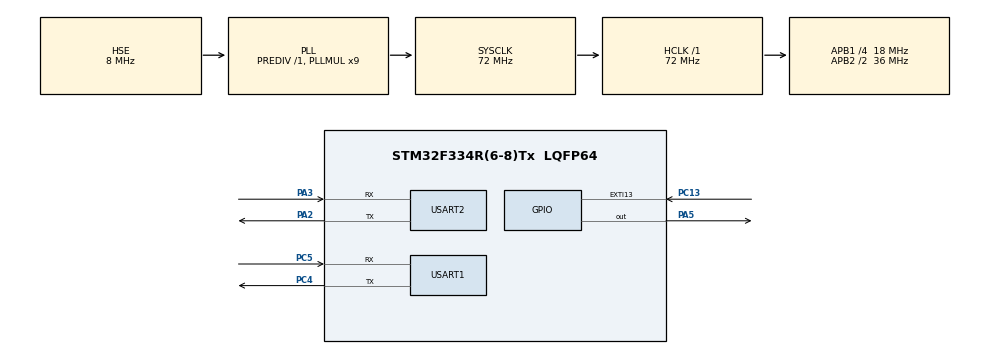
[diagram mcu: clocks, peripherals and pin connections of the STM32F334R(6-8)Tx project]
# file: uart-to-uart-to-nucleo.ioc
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Mcu.Family=STM32F3
Mcu.Name=STM32F334R(6-8)Tx
Mcu.Package=LQFP64
NVIC.EXTI15_10_IRQn=true\:0\:0\:false\:false\:true\:true\:true\:true
NVIC.PriorityGroup=NVIC_PRIORITYGROUP_4
NVIC.USART1_IRQn=true\:0\:0\:false\:false\:true\:true\:true\:true
NVIC.USART2_IRQn=true\:0\:0\:false\:false\:true\:true\:true\:true
PA2.Mode=Asynchronous
PA2.Signal=USART2_TX
PA3.Mode=Asynchronous
PA3.Signal=USART2_RX
PA5.Signal=GPIO_Output
PC13.GPIO_ModeDefaultEXTI=GPIO_MODE_IT_RISING_FALLING
PC13.GPIO_PuPd=GPIO_NOPULL
PC13.Signal=GPXTI13
PC4.Mode=Asynchronous
PC4.Signal=USART1_TX
PC5.Mode=Asynchronous
PC5.Signal=USART1_RX
PF0\ /\ OSC_IN.Mode=HSE-External-Oscillator
PF0\ /\ OSC_IN.Signal=RCC_OSC_IN
PF1\ /\ OSC_OUT.Mode=HSE-External-Oscillator
PF1\ /\ OSC_OUT.Signal=RCC_OSC_OUT
ProjectManager.HeapSize=0x200
ProjectManager.StackSize=0x400
ProjectManager.TargetToolchain=STM32CubeIDE
RCC.AHBFreq_Value=72000000
RCC.APB1CLKDivider=RCC_HCLK_DIV4
RCC.APB1Freq_Value=18000000
RCC.APB1TimFreq_Value=36000000
RCC.APB2CLKDivider=RCC_HCLK_DIV2
RCC.APB2Freq_Value=36000000
RCC.APB2TimFreq_Value=72000000
RCC.CortexFreq_Value=72000000
RCC.HCLKFreq_Value=72000000
RCC.HSE_VALUE=8000000
RCC.HSI_VALUE=8000000
RCC.LSE_VALUE=32768
RCC.PLLMUL=RCC_PLL_MUL9
RCC.PLLSourceVirtual=RCC_PLLSOURCE_HSE
RCC.SYSCLKFreq_VALUE=72000000
RCC.SYSCLKSourceVirtual=RCC_SYSCLKSOURCE_PLLCLK
USART1.VirtualMode-Asynchronous=VM_ASYNC
USART2.VirtualMode-Asynchronous=VM_ASYNC
board=custom

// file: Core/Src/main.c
/* USER CODE BEGIN Header */
/**
  ******************************************************************************
  * @file           : main.c
  * @brief          : Main program body
  ******************************************************************************
  * @attention
  *
  * Copyright (c) 2023 STMicroelectronics.
  * All rights reserved.
  *
  * This software is licensed under terms that can be found in the LICENSE file
  * in the root directory of this software component.
  * If no LICENSE file comes with this software, it is provided AS-IS.
  *
  ******************************************************************************
  */
/* USER CODE END Header */
#include "main.h"

/* USER CODE BEGIN Includes */
#include <stdbool.h>
#include <stdio.h>
#include <string.h>
/* USER CODE END Includes */

/* USER CODE BEGIN PD */
#define BUFFER_SIZE 4
#define TIMEOUT 0xFFFF
/* USER CODE END PD */

UART_HandleTypeDef huart1;
UART_HandleTypeDef huart2;

/* USER CODE BEGIN PV */
int i;
char log[50];

uint8_t transmitBuffer[BUFFER_SIZE];
uint8_t receiveBuffer[BUFFER_SIZE];
bool isReceived = false;
bool isTransive = false;
/* USER CODE END PV */

void SystemClock_Config(void);
static void MX_GPIO_Init(void);
static void MX_USART1_UART_Init(void);
static void MX_USART2_UART_Init(void);

int main(void)
{

  /* MCU Configuration--------------------------------------------------------*/

  /* Reset of all peripherals, Initializes the Flash interface and the Systick. */
  HAL_Init();

  /* Configure the system clock */
  SystemClock_Config();

  /* Initialize all configured peripherals */
  MX_GPIO_Init();
  MX_USART1_UART_Init();
  MX_USART2_UART_Init();
  /* USER CODE BEGIN 2 */
  for (unsigned char i = 0; i < BUFFER_SIZE; i++) {
  	  transmitBuffer[i] = i + 1;
  	  receiveBuffer[i] = 0;
  }
  HAL_UART_Receive_IT(&huart1, receiveBuffer, BUFFER_SIZE);
  HAL_UART_Transmit_IT(&huart2, transmitBuffer, BUFFER_SIZE);
  /* USER CODE END 2 */

  /* Infinite loop */
  while (1)
  {

    /* USER CODE BEGIN 3 */

	  // Ичпользуем это, вместо GPIO EXTI, надо снять GPIO в ioc!
	  if (HAL_GPIO_ReadPin(GPIOC, GPIO_PIN_13) == GPIO_PIN_RESET) {
		  HAL_GPIO_WritePin(GPIOA, GPIO_PIN_5, GPIO_PIN_RESET);
	  } else HAL_GPIO_WritePin(GPIOA, GPIO_PIN_5, GPIO_PIN_SET);
//	  sprintf(log, "USART1.State: %s", huart1.RxState);
//	  sprintf(log, "USART1.Count : %s", huart1.RxXferCount);

//	  sprintf(log, "USART2.State : %s", huart2.RxState);
//	  sprintf(log, "USART2.Count : %s", huart2.RxXferCount);

//	  HAL_UART_Receive_IT(&huart1, receiveBuffer, BUFFER_SIZE);
//	  HAL_Delay(200);
//	  HAL_UART_Transmit_IT(&huart2, transmitBuffer, BUFFER_SIZE);
//	  HAL_Delay(200);
//	  HAL_UART_Receive_IT(&huart1, receiveBuffer, BUFFER_SIZE);

//	  sprintf(log, "USART1.State: %s", huart1.RxState);
//	  sprintf(log, "USART1.Count: %s", huart1.RxXferCount);

//	  sprintf(log, "USART2.State: %s", huart2.RxState);
//	  sprintf(log, "USART2.Count: %s", huart2.RxXferCount);
  }
  /* USER CODE END 3 */
}

void SystemClock_Config(void)
{
  RCC_OscInitTypeDef RCC_OscInitStruct = {0};
  RCC_ClkInitTypeDef RCC_ClkInitStruct = {0};
  RCC_PeriphCLKInitTypeDef PeriphClkInit = {0};

  /** Initializes the RCC Oscillators according to the specified parameters
  * in the RCC_OscInitTypeDef structure.
  */
  RCC_OscInitStruct.OscillatorType = RCC_OSCILLATORTYPE_HSE;
  RCC_OscInitStruct.HSEState = RCC_HSE_ON;
  RCC_OscInitStruct.HSEPredivValue = RCC_HSE_PREDIV_DIV1;
  RCC_OscInitStruct.HSIState = RCC_HSI_ON;
  RCC_OscInitStruct.PLL.PLLState = RCC_PLL_ON;
  RCC_OscInitStruct.PLL.PLLSource = RCC_PLLSOURCE_HSE;
  RCC_OscInitStruct.PLL.PLLMUL = RCC_PLL_MUL9;
  if (HAL_RCC_OscConfig(&RCC_OscInitStruct) != HAL_OK)
  {
    Error_Handler();
  }

  /** Initializes the CPU, AHB and APB buses clocks
  */
  RCC_ClkInitStruct.ClockType = RCC_CLOCKTYPE_HCLK|RCC_CLOCKTYPE_SYSCLK
                              |RCC_CLOCKTYPE_PCLK1|RCC_CLOCKTYPE_PCLK2;
  RCC_ClkInitStruct.SYSCLKSource = RCC_SYSCLKSOURCE_PLLCLK;
  RCC_ClkInitStruct.AHBCLKDivider = RCC_SYSCLK_DIV1;
  RCC_ClkInitStruct.APB1CLKDivider = RCC_HCLK_DIV4;
  RCC_ClkInitStruct.APB2CLKDivider = RCC_HCLK_DIV2;

  if (HAL_RCC_ClockConfig(&RCC_ClkInitStruct, FLASH_LATENCY_2) != HAL_OK)
  {
    Error_Handler();
  }
  PeriphClkInit.PeriphClockSelection = RCC_PERIPHCLK_USART1;
  PeriphClkInit.Usart1ClockSelection = RCC_USART1CLKSOURCE_PCLK1;
  if (HAL_RCCEx_PeriphCLKConfig(&PeriphClkInit) != HAL_OK)
  {
    Error_Handler();
  }
}

static void MX_USART1_UART_Init(void)
{

  huart1.Instance = USART1;
  huart1.Init.BaudRate = 38400;
  huart1.Init.WordLength = UART_WORDLENGTH_8B;
  huart1.Init.StopBits = UART_STOPBITS_1;
  huart1.Init.Parity = UART_PARITY_NONE;
  huart1.Init.Mode = UART_MODE_TX_RX;
  huart1.Init.HwFlowCtl = UART_HWCONTROL_NONE;
  huart1.Init.OverSampling = UART_OVERSAMPLING_16;
  huart1.Init.OneBitSampling = UART_ONE_BIT_SAMPLE_DISABLE;
  huart1.AdvancedInit.AdvFeatureInit = UART_ADVFEATURE_NO_INIT;
  if (HAL_UART_Init(&huart1) != HAL_OK)
  {
    Error_Handler();
  }

}

static void MX_USART2_UART_Init(void)
{

  huart2.Instance = USART2;
  huart2.Init.BaudRate = 38400;
  huart2.Init.WordLength = UART_WORDLENGTH_8B;
  huart2.Init.StopBits = UART_STOPBITS_1;
  huart2.Init.Parity = UART_PARITY_NONE;
  huart2.Init.Mode = UART_MODE_TX_RX;
  huart2.Init.HwFlowCtl = UART_HWCONTROL_NONE;
  huart2.Init.OverSampling = UART_OVERSAMPLING_16;
  huart2.Init.OneBitSampling = UART_ONE_BIT_SAMPLE_DISABLE;
  huart2.AdvancedInit.AdvFeatureInit = UART_ADVFEATURE_NO_INIT;
  if (HAL_UART_Init(&huart2) != HAL_OK)
  {
    Error_Handler();
  }

}

static void MX_GPIO_Init(void)
{
  GPIO_InitTypeDef GPIO_InitStruct = {0};

  /* GPIO Ports Clock Enable */
  __HAL_RCC_GPIOC_CLK_ENABLE();
  __HAL_RCC_GPIOF_CLK_ENABLE();
  __HAL_RCC_GPIOA_CLK_ENABLE();

  /*Configure GPIO pin Output Level */
  HAL_GPIO_WritePin(GPIOA, GPIO_PIN_5, GPIO_PIN_RESET);

  /*Configure GPIO pin : PC13 */
  GPIO_InitStruct.Pin = GPIO_PIN_13;
  GPIO_InitStruct.Mode = GPIO_MODE_IT_FALLING;
  GPIO_InitStruct.Pull = GPIO_PULLUP;
  HAL_GPIO_Init(GPIOC, &GPIO_InitStruct);

  /*Configure GPIO pin : PA5 */
  GPIO_InitStruct.Pin = GPIO_PIN_5;
  GPIO_InitStruct.Mode = GPIO_MODE_OUTPUT_PP;
  GPIO_InitStruct.Pull = GPIO_NOPULL;
  GPIO_InitStruct.Speed = GPIO_SPEED_FREQ_LOW;
  HAL_GPIO_Init(GPIOA, &GPIO_InitStruct);

  /* EXTI interrupt init*/
  HAL_NVIC_SetPriority(EXTI15_10_IRQn, 0, 0);
  HAL_NVIC_EnableIRQ(EXTI15_10_IRQn);

}

/* USER CODE BEGIN 4 */
// Для того, чтобы отследить момент окончания передачи, либо приема существуют callback-функции:
// При дебаге, внутри колбэк функций, время таймера отличается от реального
// (то есть в колбэке может пройти 100 итераций, а дебаг захватит только 1)
void HAL_UART_RxCpltCallback(UART_HandleTypeDef *huart) {
  if (huart->Instance == USART1) {
	  // USART1 завершил прием данных
	  isReceived = true;
  }
}

void HAL_UART_TxCpltCallback(UART_HandleTypeDef *huart) {
  if (huart->Instance == USART2) {
	  // USART2 завершил отправку данных
	  isTransive = true;
  }
}

void HAL_GPIO_EXTI_Callback(uint16_t GPIO_Pin) {
  if (GPIO_Pin == GPIO_PIN_13) {
	  // Работает, НО не надежно переключает!
	  // Не вижу проблем при использовании чтения ПИНа в цикле!
	  if (!(GPIOC -> IDR & (1 << 1))) {
		  HAL_GPIO_WritePin(GPIOA, GPIO_PIN_5, GPIO_PIN_SET);
	  } else {
		  HAL_GPIO_WritePin(GPIOA, GPIO_PIN_5, GPIO_PIN_RESET);
	  }
//	  if (EXTI_GetITStatus(GPIO_PIN_13) == SET) {

//	  }
//	  }
//	   if ((GPIOC -> IDR & GPIO_PIN_13)) {
//		   HAL_GPIO_WritePin(GPIOA, GPIO_PIN_5, GPIO_PIN_SET);
//	   } else {
//		   HAL_GPIO_WritePin(GPIOA, GPIO_PIN_5, GPIO_PIN_RESET);
//	   }

//	  HAL_GPIO_TogglePin(GPIOA, GPIO_PIN_5);
//	  if (HAL_GPIO_ReadPin(GPIOC, GPIO_PIN_13)) {
//
//	  } else {
//		  HAL_GPIO_WritePin(GPIOA, GPIO_PIN_5, GPIO_PIN_RESET);
//	  }
  }
}
/* USER CODE END 4 */

void Error_Handler(void)
{
  __disable_irq();
  while (1)
  {
  }
}
